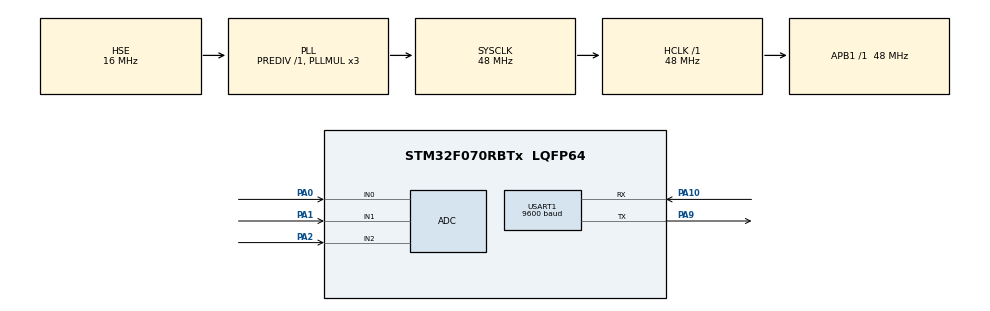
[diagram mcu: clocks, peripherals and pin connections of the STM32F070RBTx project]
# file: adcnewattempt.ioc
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ADC.ContinuousConvMode=ENABLE
Dma.ADC.0.Direction=DMA_PERIPH_TO_MEMORY
Dma.ADC.0.Instance=DMA1_Channel1
Dma.ADC.0.MemDataAlignment=DMA_MDATAALIGN_WORD
Dma.ADC.0.MemInc=DMA_MINC_ENABLE
Dma.ADC.0.Mode=DMA_NORMAL
Dma.ADC.0.PeriphDataAlignment=DMA_PDATAALIGN_WORD
Dma.ADC.0.PeriphInc=DMA_PINC_DISABLE
Dma.ADC.0.Priority=DMA_PRIORITY_LOW
Dma.Request0=ADC
Mcu.Family=STM32F0
Mcu.Name=STM32F070RBTx
Mcu.Package=LQFP64
NVIC.ADC1_IRQn=true\:0\:0\:false\:false\:true
NVIC.DMA1_Channel1_IRQn=true\:0\:0\:false\:false\:true
NVIC.USART1_IRQn=true\:0\:0\:false\:false\:true
PA0.Mode=IN0
PA0.Signal=ADC_IN0
PA1.Mode=IN1
PA1.Signal=ADC_IN1
PA10.Mode=Asynchronous
PA10.Signal=USART1_RX
PA2.Mode=IN2
PA2.Signal=ADC_IN2
PA9.Mode=Asynchronous
PA9.Signal=USART1_TX
PF0-OSC_IN.Mode=HSE-External-Oscillator
PF0-OSC_IN.Signal=RCC_OSC_IN
PF1-OSC_OUT.Mode=HSE-External-Oscillator
PF1-OSC_OUT.Signal=RCC_OSC_OUT
ProjectManager.HeapSize=0x200
ProjectManager.StackSize=0x400
ProjectManager.TargetToolchain=MDK-ARM V5
RCC.AHBFreq_Value=48000000
RCC.APB1Freq_Value=48000000
RCC.APB1TimFreq_Value=48000000
RCC.HCLKFreq_Value=48000000
RCC.HSE_VALUE=16000000
RCC.PLLMUL=RCC_PLL_MUL3
RCC.PLLSourceVirtual=RCC_PLLSOURCE_HSE
RCC.SYSCLKFreq_VALUE=48000000
RCC.SYSCLKSource=RCC_SYSCLKSOURCE_PLLCLK
USART1.BaudRate=9600
USART1.VirtualMode-Asynchronous=VM_ASYNC
USART1.WordLength=WORDLENGTH_8B
board=adcnewattempt

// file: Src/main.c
/**
  ******************************************************************************
  * File Name          : main.c
  * Description        : Main program body
  ******************************************************************************
  ** This notice applies to any and all portions of this file
  * that are not between comment pairs USER CODE BEGIN and
  * USER CODE END. Other portions of this file, whether
  * inserted by the user or by software development tools
  * are owned by their respective copyright owners.
  *
  * COPYRIGHT(c) 2017 STMicroelectronics
  *
  * Redistribution and use in source and binary forms, with or without modification,
  * are permitted provided that the following conditions are met:
  *   1. Redistributions of source code must retain the above copyright notice,
  *      this list of conditions and the following disclaimer.
  *   2. Redistributions in binary form must reproduce the above copyright notice,
  *      this list of conditions and the following disclaimer in the documentation
  *      and/or other materials provided with the distribution.
  *   3. Neither the name of STMicroelectronics nor the names of its contributors
  *      may be used to endorse or promote products derived from this software
  *      without specific prior written permission.
  *
  * THIS SOFTWARE IS PROVIDED BY THE COPYRIGHT HOLDERS AND CONTRIBUTORS "AS IS"
  * AND ANY EXPRESS OR IMPLIED WARRANTIES, INCLUDING, BUT NOT LIMITED TO, THE
  * IMPLIED WARRANTIES OF MERCHANTABILITY AND FITNESS FOR A PARTICULAR PURPOSE ARE
  * DISCLAIMED. IN NO EVENT SHALL THE COPYRIGHT HOLDER OR CONTRIBUTORS BE LIABLE
  * FOR ANY DIRECT, INDIRECT, INCIDENTAL, SPECIAL, EXEMPLARY, OR CONSEQUENTIAL
  * DAMAGES (INCLUDING, BUT NOT LIMITED TO, PROCUREMENT OF SUBSTITUTE GOODS OR
  * SERVICES; LOSS OF USE, DATA, OR PROFITS; OR BUSINESS INTERRUPTION) HOWEVER
  * CAUSED AND ON ANY THEORY OF LIABILITY, WHETHER IN CONTRACT, STRICT LIABILITY,
  * OR TORT (INCLUDING NEGLIGENCE OR OTHERWISE) ARISING IN ANY WAY OUT OF THE USE
  * OF THIS SOFTWARE, EVEN IF ADVISED OF THE POSSIBILITY OF SUCH DAMAGE.
  *
  ******************************************************************************
  */
#include "main.h"
#include "stm32f0xx_hal.h"

ADC_HandleTypeDef hadc;
DMA_HandleTypeDef hdma_adc;

UART_HandleTypeDef huart1;

/* USER CODE BEGIN PV */
/* Private variables ---------------------------------------------------------*/
uint16_t ADC_BUF[5];
unsigned int val[10],len=0;
unsigned char buffer[50];
/* USER CODE END PV */

void SystemClock_Config(void);
static void MX_GPIO_Init(void);
static void MX_DMA_Init(void);
static void MX_ADC_Init(void);
static void MX_USART1_UART_Init(void);

/* USER CODE BEGIN PFP */
/* Private function prototypes -----------------------------------------------*/

/* USER CODE END PFP */

/* USER CODE BEGIN 0 */
void HAL_ADC_ConvCpltCallback(ADC_HandleTypeDef* hadc)
{
  /* Prevent unused argument(s) compilation warning */
  UNUSED(hadc);
if(hadc -> Instance == ADC1)
{
	val[0]=ADC_BUF[0];
	val[1]=ADC_BUF[1];
	val[2]=ADC_BUF[2];
	val[ADC1->CHSELR]=HAL_ADC_GetValue(hadc);
}
  /* NOTE : This function should not be modified. When the callback is needed,
            function HAL_ADC_ConvCpltCallback must be implemented in the user file.
   */
}
/* USER CODE END 0 */

int main(void)
{

  /* MCU Configuration----------------------------------------------------------*/

  /* Reset of all peripherals, Initializes the Flash interface and the Systick. */
  HAL_Init();

  /* Configure the system clock */
  SystemClock_Config();

  /* Initialize all configured peripherals */
  MX_GPIO_Init();
  MX_DMA_Init();
  MX_ADC_Init();
  MX_USART1_UART_Init();

  /* USER CODE BEGIN 2 */

//HAL_ADC_Start_IT(&hadc);
  /* USER CODE END 2 */

  /* Infinite loop */
  while (1)
  {

  /* USER CODE BEGIN 3 */
HAL_ADC_Start_DMA(&hadc, (uint32_t *)ADC_BUF,3);
HAL_ADC_Start_IT(&hadc);
HAL_Delay(100);

sprintf(buffer,"%d",val[0]);
len=strlen(buffer);
HAL_UART_Transmit(&huart1,"sensor1 is ",11,10);
HAL_UART_Transmit(&huart1,buffer,len,10);
HAL_UART_Transmit(&huart1,"\r\n",1,10);

sprintf(buffer,"%d",val[1]);
len=strlen(buffer);
HAL_UART_Transmit(&huart1,"sensor2 is ",11,10);
HAL_UART_Transmit(&huart1,buffer,len,10);
HAL_UART_Transmit(&huart1,"\r\n",1,10);

sprintf(buffer,"%d",val[2]);
len=strlen(buffer);
HAL_UART_Transmit(&huart1,"sensor3 is ",11,10);
HAL_UART_Transmit(&huart1,buffer,len,10);
HAL_UART_Transmit(&huart1,"\r\n",1,10);

sprintf(buffer,"%d",val[ADC1->CHSELR]);
len=strlen(buffer);
HAL_UART_Transmit(&huart1,"CHSELR is ",10,10);
HAL_UART_Transmit(&huart1,buffer,len,10);
HAL_UART_Transmit(&huart1,"\r\n",1,10);
HAL_UART_Transmit(&huart1,"\r\n",1,10);

HAL_Delay(1000);
  }
  /* USER CODE END 3 */

}

/** System Clock Configuration
*/
void SystemClock_Config(void)
{

  RCC_OscInitTypeDef RCC_OscInitStruct;
  RCC_ClkInitTypeDef RCC_ClkInitStruct;
  RCC_PeriphCLKInitTypeDef PeriphClkInit;

    /**Initializes the CPU, AHB and APB busses clocks
    */
  RCC_OscInitStruct.OscillatorType = RCC_OSCILLATORTYPE_HSI14|RCC_OSCILLATORTYPE_HSE;
  RCC_OscInitStruct.HSEState = RCC_HSE_ON;
  RCC_OscInitStruct.HSIState = RCC_HSI_ON;
  RCC_OscInitStruct.HSI14State = RCC_HSI14_ON;
  RCC_OscInitStruct.HSI14CalibrationValue = 16;
  RCC_OscInitStruct.PLL.PLLState = RCC_PLL_ON;
  RCC_OscInitStruct.PLL.PLLSource = RCC_PLLSOURCE_HSE;
  RCC_OscInitStruct.PLL.PLLMUL = RCC_PLL_MUL3;
  RCC_OscInitStruct.PLL.PREDIV = RCC_PREDIV_DIV1;
  if (HAL_RCC_OscConfig(&RCC_OscInitStruct) != HAL_OK)
  {
    _Error_Handler(__FILE__, __LINE__);
  }

    /**Initializes the CPU, AHB and APB busses clocks
    */
  RCC_ClkInitStruct.ClockType = RCC_CLOCKTYPE_HCLK|RCC_CLOCKTYPE_SYSCLK
                              |RCC_CLOCKTYPE_PCLK1;
  RCC_ClkInitStruct.SYSCLKSource = RCC_SYSCLKSOURCE_PLLCLK;
  RCC_ClkInitStruct.AHBCLKDivider = RCC_SYSCLK_DIV1;
  RCC_ClkInitStruct.APB1CLKDivider = RCC_HCLK_DIV1;

  if (HAL_RCC_ClockConfig(&RCC_ClkInitStruct, FLASH_LATENCY_1) != HAL_OK)
  {
    _Error_Handler(__FILE__, __LINE__);
  }

  PeriphClkInit.PeriphClockSelection = RCC_PERIPHCLK_USART1;
  PeriphClkInit.Usart1ClockSelection = RCC_USART1CLKSOURCE_PCLK1;
  if (HAL_RCCEx_PeriphCLKConfig(&PeriphClkInit) != HAL_OK)
  {
    _Error_Handler(__FILE__, __LINE__);
  }

    /**Configure the Systick interrupt time
    */
  HAL_SYSTICK_Config(HAL_RCC_GetHCLKFreq()/1000);

    /**Configure the Systick
    */
  HAL_SYSTICK_CLKSourceConfig(SYSTICK_CLKSOURCE_HCLK);

  /* SysTick_IRQn interrupt configuration */
  HAL_NVIC_SetPriority(SysTick_IRQn, 0, 0);
}

/* ADC init function */
static void MX_ADC_Init(void)
{

  ADC_ChannelConfTypeDef sConfig;

    /**Configure the global features of the ADC (Clock, Resolution, Data Alignment and number of conversion)
    */
  hadc.Instance = ADC1;
  hadc.Init.ClockPrescaler = ADC_CLOCK_ASYNC_DIV1;
  hadc.Init.Resolution = ADC_RESOLUTION_12B;
  hadc.Init.DataAlign = ADC_DATAALIGN_RIGHT;
  hadc.Init.ScanConvMode = ADC_SCAN_DIRECTION_FORWARD;
  hadc.Init.EOCSelection = ADC_EOC_SINGLE_CONV;
  hadc.Init.LowPowerAutoWait = DISABLE;
  hadc.Init.LowPowerAutoPowerOff = DISABLE;
  hadc.Init.ContinuousConvMode = ENABLE;
  hadc.Init.DiscontinuousConvMode = DISABLE;
  hadc.Init.ExternalTrigConv = ADC_SOFTWARE_START;
  hadc.Init.ExternalTrigConvEdge = ADC_EXTERNALTRIGCONVEDGE_NONE;
  hadc.Init.DMAContinuousRequests = DISABLE;
  hadc.Init.Overrun = ADC_OVR_DATA_PRESERVED;
  if (HAL_ADC_Init(&hadc) != HAL_OK)
  {
    _Error_Handler(__FILE__, __LINE__);
  }

    /**Configure for the selected ADC regular channel to be converted.
    */
  sConfig.Channel = ADC_CHANNEL_1;
  sConfig.Rank = ADC_RANK_CHANNEL_NUMBER;
  sConfig.SamplingTime = ADC_SAMPLETIME_1CYCLE_5;
  if (HAL_ADC_ConfigChannel(&hadc, &sConfig) != HAL_OK)
  {
    _Error_Handler(__FILE__, __LINE__);
  }

    /**Configure for the selected ADC regular channel to be converted.
    */
  sConfig.Channel = ADC_CHANNEL_0;
  if (HAL_ADC_ConfigChannel(&hadc, &sConfig) != HAL_OK)
  {
    _Error_Handler(__FILE__, __LINE__);
  }

    /**Configure for the selected ADC regular channel to be converted.
    */
  sConfig.Channel = ADC_CHANNEL_2;
  if (HAL_ADC_ConfigChannel(&hadc, &sConfig) != HAL_OK)
  {
    _Error_Handler(__FILE__, __LINE__);
  }

}

/* USART1 init function */
static void MX_USART1_UART_Init(void)
{

  huart1.Instance = USART1;
  huart1.Init.BaudRate = 9600;
  huart1.Init.WordLength = UART_WORDLENGTH_8B;
  huart1.Init.StopBits = UART_STOPBITS_1;
  huart1.Init.Parity = UART_PARITY_NONE;
  huart1.Init.Mode = UART_MODE_TX_RX;
  huart1.Init.HwFlowCtl = UART_HWCONTROL_NONE;
  huart1.Init.OverSampling = UART_OVERSAMPLING_16;
  huart1.Init.OneBitSampling = UART_ONE_BIT_SAMPLE_DISABLE;
  huart1.AdvancedInit.AdvFeatureInit = UART_ADVFEATURE_NO_INIT;
  if (HAL_UART_Init(&huart1) != HAL_OK)
  {
    _Error_Handler(__FILE__, __LINE__);
  }

}

static void MX_DMA_Init(void)
{
  /* DMA controller clock enable */
  __HAL_RCC_DMA1_CLK_ENABLE();

  /* DMA interrupt init */
  /* DMA1_Channel1_IRQn interrupt configuration */
  HAL_NVIC_SetPriority(DMA1_Channel1_IRQn, 0, 0);
  HAL_NVIC_EnableIRQ(DMA1_Channel1_IRQn);

}

/** Configure pins as
        * Analog
        * Input
        * Output
        * EVENT_OUT
        * EXTI
*/
static void MX_GPIO_Init(void)
{

  /* GPIO Ports Clock Enable */
  __HAL_RCC_GPIOF_CLK_ENABLE();
  __HAL_RCC_GPIOA_CLK_ENABLE();

}

void _Error_Handler(char * file, int line)
{
  while(1)
  {
  }
}

/************************ (C) COPYRIGHT STMicroelectronics *****END OF FILE****/
